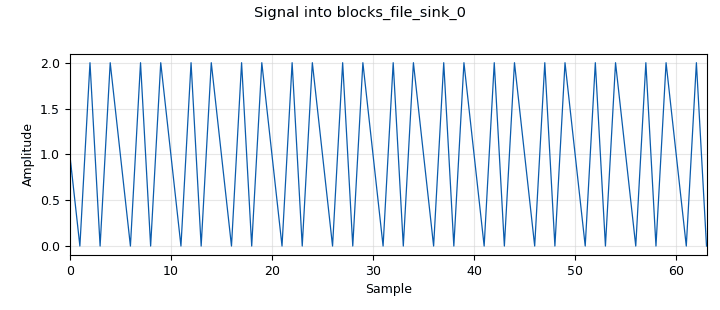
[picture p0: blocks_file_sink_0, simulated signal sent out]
<?xml version='1.0' encoding='utf-8'?>
<?grc format='1' created='3.7.11'?>
<flow_graph>
<block>
<key>options</key>
<param><key>id</key><value>kiss_tx_ofdm</value></param>
<param><key>generate_options</key><value>qt_gui</value></param>
</block>
<block>
<key>variable</key>
<param><key>id</key><value>base_freq</value></param>
<param><key>value</key><value>433.92e6</value></param>
</block>
<block>
<key>variable</key>
<param><key>id</key><value>fft_len</value></param>
<param><key>value</key><value>256</value></param>
</block>
<block>
<key>variable</key>
<param><key>id</key><value>samp_rate</value></param>
<param><key>value</key><value>1000090.05</value></param>
</block>
<block>
<key>blocks_file_sink</key>
<param><key>id</key><value>blocks_file_sink_0</value></param>
<param><key>file</key><value>/tmp/send.file</value></param>
<param><key>type</key><value>int</value></param>
</block>
<block>
<key>blocks_tag_debug</key>
<param><key>id</key><value>blocks_tag_debug_0</value></param>
<param><key>type</key><value>int</value></param>
<param><key>name</key><value>sent_data</value></param>
</block>
<block>
<key>kiss_ofdm_tx_stream</key>
<param><key>id</key><value>kiss_ofdm_tx_stream_0</value></param>
<param><key>fft_len</key><value>fft_len</value></param>
</block>
<block>
<key>osmosdr_sink</key>
<param><key>id</key><value>osmosdr_sink_0</value></param>
<param><key>bb_gain0</key><value>20</value></param>
<param><key>freq0</key><value>base_freq</value></param>
<param><key>if_gain0</key><value>20</value></param>
<param><key>gain0</key><value>10</value></param>
<param><key>args</key><value></value></param>
<param><key>type</key><value>fc32</value></param>
<param><key>sample_rate</key><value>samp_rate</value></param>
<param><key>sync</key><value></value></param>
</block>
<block>
<key>qtgui_sink_x</key>
<param><key>id</key><value>qtgui_sink_x_0</value></param>
<param><key>bw</key><value>samp_rate</value></param>
<param><key>fc</key><value>base_freq</value></param>
<param><key>freqchangevar</key><value>None</value></param>
<param><key>fftsize</key><value>fft_len</value></param>
<param><key>showports</key><value>True</value></param>
<param><key>showrf</key><value>True</value></param>
<param><key>type</key><value>complex</value></param>
<param><key>wintype</key><value>firdes.WIN_BLACKMAN_hARRIS</value></param>
</block>
<block>
<key>analog_random_source_x</key>
<param><key>id</key><value>tx_bits</value></param>
<param><key>max</key><value>3</value></param>
<param><key>min</key><value>0</value></param>
<param><key>num_samps</key><value>5</value></param>
<param><key>type</key><value>int</value></param>
<param><key>repeat</key><value>True</value></param>
</block>
<connection><source_block_id>kiss_ofdm_tx_stream_0</source_block_id><sink_block_id>osmosdr_sink_0</sink_block_id><source_key>0</source_key><sink_key>0</sink_key></connection>
<connection><source_block_id>kiss_ofdm_tx_stream_0</source_block_id><sink_block_id>qtgui_sink_x_0</sink_block_id><source_key>0</source_key><sink_key>0</sink_key></connection>
<connection><source_block_id>tx_bits</source_block_id><sink_block_id>blocks_file_sink_0</sink_block_id><source_key>0</source_key><sink_key>0</sink_key></connection>
<connection><source_block_id>tx_bits</source_block_id><sink_block_id>blocks_tag_debug_0</sink_block_id><source_key>0</source_key><sink_key>0</sink_key></connection>
<connection><source_block_id>tx_bits</source_block_id><sink_block_id>kiss_ofdm_tx_stream_0</sink_block_id><source_key>0</source_key><sink_key>0</sink_key></connection>
</flow_graph>
